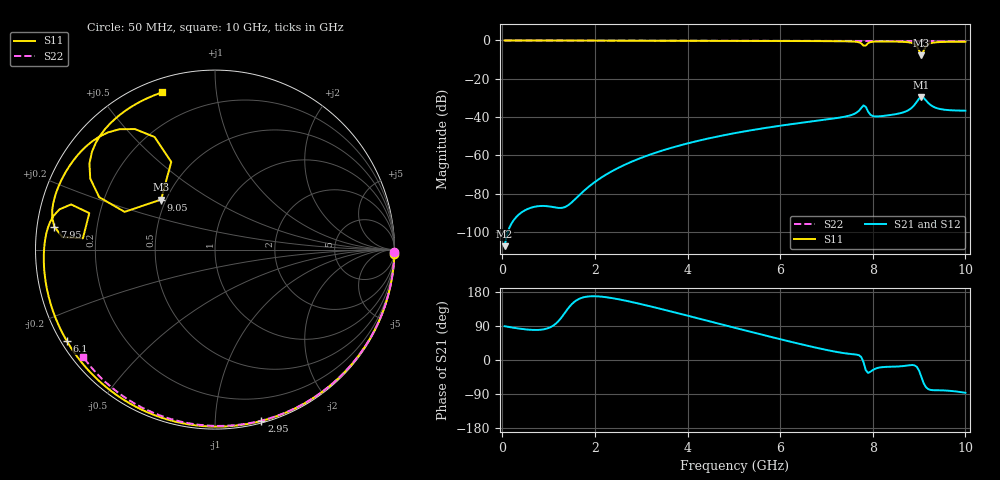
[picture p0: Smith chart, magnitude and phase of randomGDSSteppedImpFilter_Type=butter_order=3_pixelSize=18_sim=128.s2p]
! freq	dB(S11)	phase(S11)	dB(S12)	phase(S12)
!  dB(S21)	phase(S21)	dB(S22)	phase(S22)
!S-par simulation data
#  GHz  S  DB  R 50
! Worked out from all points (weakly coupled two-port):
!   200 points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, 50 MHz to 10 GHz, reference 50 ohm
!   highest |S21| = -29.45 dB at 9.05 GHz (marker M1); lowest = -107.4 dB at 50 MHz (marker M2)
!   lowest |S11| = -7.8 dB at 9.05 GHz (marker M3), VSWR 2.39, Z = 23.5 + j15.8 ohm
!   |S11| at or under -10 dB: nowhere
!   |S22| runs from -0.5 to 0.0 dB; largest |S21 - S12| = 0
!   S11 on the Smith chart (normalised r, x): 50 MHz: 0, -86; 2.95 GHz: 0.01, -1.31; 6.1 GHz: 0.02, -0.28; 7.95 GHz: 0.05, +0.07; 9.05 GHz: 0.47, +0.32; 10 GHz: 0.06, +0.72
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0.05  -0.00 -1.3  -107.40 89.2  -107.40 89.2  -0.00 -0.8
1.75  -0.06 -45.3  -78.81 165.3  -78.81 165.3  -0.04 -28.2
2.25  -0.07 -57.8  -69.90 165.6  -69.90 165.6  -0.05 -36.0
2.95  -0.10 -74.8  -61.75 148.8  -61.75 148.8  -0.06 -46.8
3.4  -0.11 -85.6  -57.89 135.5  -57.89 135.5  -0.07 -53.5
5.05  -0.19 -123.8  -48.25 84.1  -48.25 84.1  -0.12 -77.3
6.1  -0.26 -148.2  -44.17 51.9  -44.17 51.9  -0.16 -91.6
6.7  -0.32 -162.9  -42.22 34.6  -42.22 34.6  -0.19 -99.5
7.55  -0.54 172.7  -38.83 15.6  -38.83 15.6  -0.25 -110.4
7.8  -2.74 163.8  -33.90 -5.7  -33.90 -5.7  -0.26 -113.6
7.85  -2.63 175.1  -34.68 -27.1  -34.68 -27.1  -0.27 -114.2
7.95  -0.87 171.9  -38.80 -30.9  -38.80 -30.9  -0.27 -115.5
8.35  -0.55 154.2  -39.04 -17.9  -39.04 -17.9  -0.31 -120.5
8.7  -0.79 138.8  -37.19 -15.3  -37.19 -15.3  -0.34 -124.8
8.9  -1.87 123.6  -33.68 -14.0  -33.68 -14.0  -0.36 -127.2
9  -5.26 116.5  -30.35 -28.0  -30.35 -28.0  -0.37 -128.5
9.05  -7.75 137.1  -29.45 -44.8  -29.45 -44.8  -0.37 -129.1
9.1  -5.26 157.3  -30.02 -61.6  -30.02 -61.6  -0.37 -129.7
9.15  -2.99 155.6  -31.37 -72.0  -31.37 -72.0  -0.38 -130.3
9.25  -1.43 145.6  -33.72 -79.0  -33.72 -79.0  -0.39 -131.6
9.5  -0.79 129.8  -36.00 -80.1  -36.00 -80.1  -0.42 -134.6
10  -0.68 108.7  -36.66 -86.4  -36.66 -86.4  -0.47 -140.8
